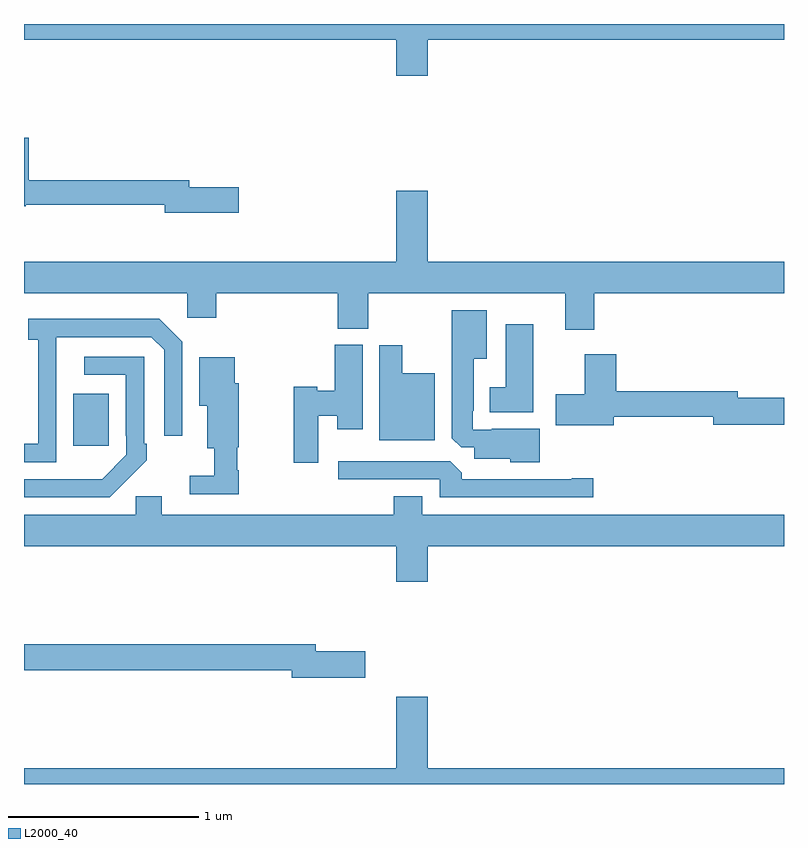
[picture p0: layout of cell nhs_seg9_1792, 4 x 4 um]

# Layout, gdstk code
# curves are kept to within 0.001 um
import gdstk
lib = gdstk.Library(unit=1e-6, precision=1e-09)
def R(c, l, rs):  # rectangles x0, y0, x1, y1
    for r in rs: c.add(gdstk.rectangle(r[:2], r[2:], *l))
def P(c, l, *ps):  # polygons
    for p in ps: c.add(gdstk.Polygon(p, *l))
L2000_40 = (2000, 40)

nhs_seg9_1792 = lib.new_cell('nhs_seg9_1792')
R(nhs_seg9_1792, L2000_40, [(211.259,1198.281,211.447,1198.555)])
P(nhs_seg9_1792, L2000_40, [(213.124,1200.416),(215,1200.416),(215,1200.5),(211,1200.5),(211,1200.416),(212.96,1200.416),(212.96,1200.228),(213.124,1200.228)],
  [(212.131,1199.642),(211.87,1199.642),(211.87,1199.678),(211.025,1199.678),(211.025,1199.902),(211,1199.902),(211,1199.542),(211.008,1199.542),(211.008,1199.55),(211.742,1199.55),(211.742,1199.507),(212.131,1199.507)],
  [(214.001,1199.084),(215,1199.084),(215,1199.248),(213.124,1199.248),(213.124,1199.623),(212.96,1199.623),(212.96,1199.248),(211,1199.248),(211,1199.084),(211.86,1199.084),(211.86,1198.953),(212.012,1198.953),(212.012,1199.084),(212.651,1199.084),(212.651,1198.897),(212.811,1198.897),(212.811,1199.084),(213.848,1199.084),(213.848,1198.89),(214.001,1198.89)],
  [(213.715,1198.369),(213.463,1198.369),(213.463,1198.365),(213.363,1198.365),(213.363,1198.465),(213.367,1198.465),(213.367,1198.739),(213.436,1198.739),(213.436,1198.993),(213.251,1198.993),(213.251,1198.321),(213.3,1198.272),(213.371,1198.272),(213.371,1198.211),(213.558,1198.211),(213.558,1198.193),(213.715,1198.193)],
  [(211.17,1198.651),(211.171,1198.851),(211.671,1198.851),(211.737,1198.785),(211.737,1198.332),(211.833,1198.332),(211.833,1198.827),(211.712,1198.948),(211.023,1198.948),(211.023,1198.838),(211.074,1198.838),(211.074,1198.29),(211,1198.29),(211,1198.194),(211.17,1198.194)],
  [(213.679,1198.921),(213.536,1198.921),(213.536,1198.588),(213.452,1198.588),(213.452,1198.457),(213.679,1198.457)],
  [(212.548,1198.439),(212.648,1198.439),(212.648,1198.368),(212.782,1198.368),(212.782,1198.812),(212.636,1198.812),(212.636,1198.569),(212.544,1198.569),(212.544,1198.592),(212.419,1198.592),(212.419,1198.191),(212.548,1198.191)],
  [(213.163,1198.663),(212.992,1198.663),(212.992,1198.81),(212.87,1198.81),(212.87,1198.31),(213.163,1198.31)],
  [(214.105,1198.432),(214.628,1198.432),(214.628,1198.39),(215,1198.39),(215,1198.532),(214.756,1198.532),(214.756,1198.568),(214.118,1198.568),(214.118,1198.762),(213.95,1198.762),(213.95,1198.551),(213.798,1198.551),(213.798,1198.388),(214.105,1198.388)],
  [(211.541,1198.099),(211.542,1198.098),(211.647,1198.203),(211.647,1198.291),(211.632,1198.291),(211.632,1198.749),(211.317,1198.749),(211.317,1198.653),(211.536,1198.653),(211.536,1198.333),(211.539,1198.333),(211.539,1198.233),(211.411,1198.105),(211,1198.104),(211,1198.008),(211.45,1198.008)],
  [(212.129,1198.151),(212.122,1198.151),(212.122,1198.272),(212.13,1198.272),(212.13,1198.608),(212.11,1198.608),(212.11,1198.747),(211.922,1198.747),(211.922,1198.49),(211.964,1198.49),(211.964,1198.268),(212.001,1198.268),(212.001,1198.123),(211.872,1198.123),(211.872,1198.026),(212.129,1198.026)],
  [(213.997,1198.109),(213.884,1198.109),(213.884,1198.104),(213.305,1198.104),(213.305,1198.138),(213.243,1198.2),(212.655,1198.2),(212.655,1198.104),(213.189,1198.104),(213.189,1198.008),(213.997,1198.008)],
  [(213.124,1197.752),(215,1197.752),(215,1197.916),(213.097,1197.916),(213.097,1198.015),(212.945,1198.015),(212.945,1197.916),(211.726,1197.916),(211.726,1198.014),(211.587,1198.014),(211.587,1197.916),(211,1197.916),(211,1197.752),(212.96,1197.752),(212.96,1197.564),(213.124,1197.564)],
  [(212.797,1197.2),(212.536,1197.2),(212.536,1197.236),(211,1197.236),(211,1197.1),(212.408,1197.1),(212.408,1197.058),(212.797,1197.058)],
  [(215,1196.584),(213.124,1196.584),(213.124,1196.959),(212.96,1196.959),(212.96,1196.584),(211,1196.584),(211,1196.5),(215,1196.5)])

lib.write_gds('nhs_seg9_1792.gds')
